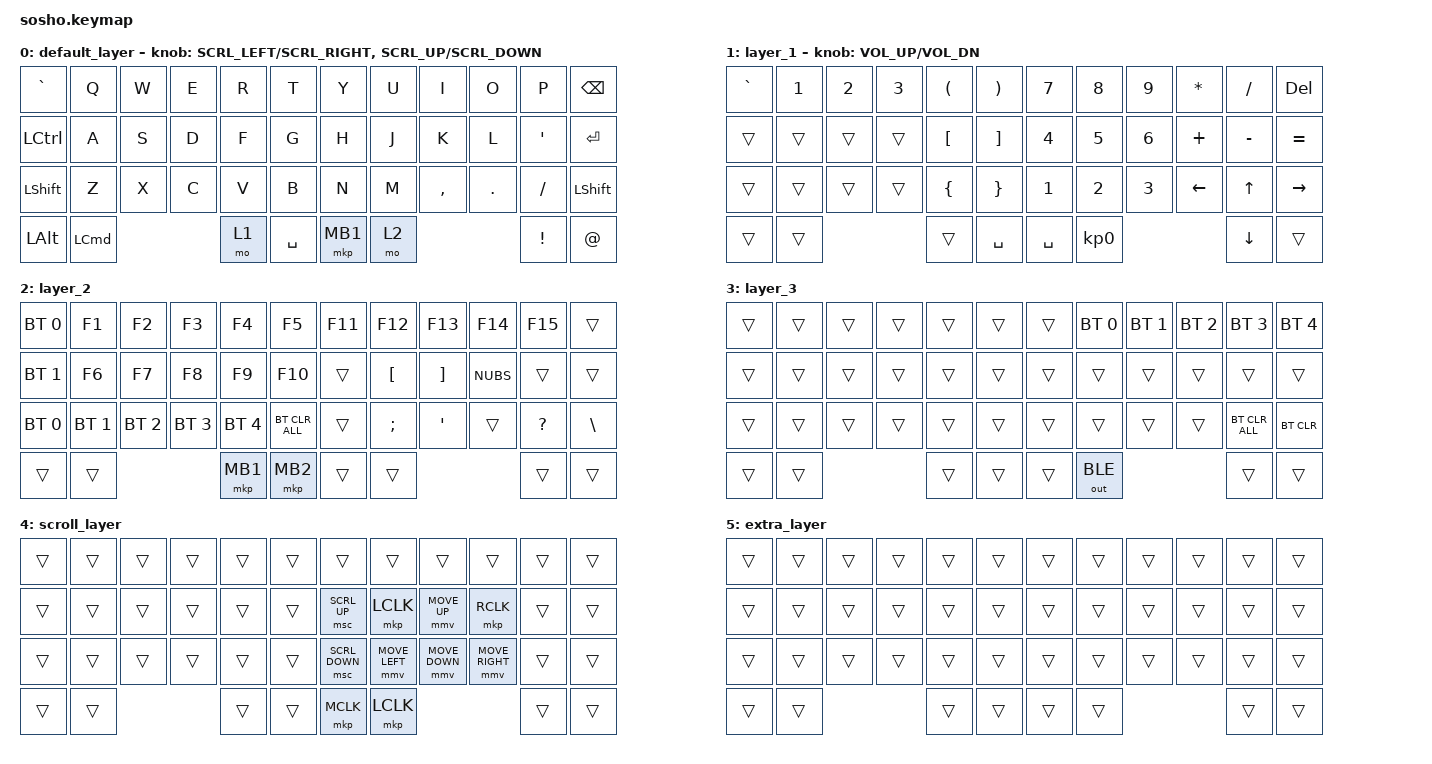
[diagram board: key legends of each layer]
//スクロール量の調整(デフォルト150)

#define ZMK_POINTING_DEFAULT_SCRL_VAL 150
#define ZMK_POINTING_DEFAULT_MOVE_VAL 600

#include <behaviors.dtsi>
#include <dt-bindings/zmk/bt.h>
#include <dt-bindings/zmk/keys.h>
#include <dt-bindings/zmk/outputs.h>
#include <dt-bindings/zmk/pointing.h>

/ {
    behaviors {
        msc_ec_l: sensor_rotation_scroll_L {
            compatible = "zmk,behavior-sensor-rotate-var";
            #sensor-binding-cells = <2>;
            bindings = <&msc>, <&msc>;

            tap-ms = <20>;
        };

        msc_ec_r: sensor_rotation_scroll_R {
            compatible = "zmk,behavior-sensor-rotate-var";
            #sensor-binding-cells = <2>;
            bindings = <&msc>, <&msc>;

            tap-ms = <20>;
        };
    };
};

&msc {
    time-to-max-speed-ms = <0>;
    acceleration-exponent = <0>;
};

&mmv {
    time-to-max-speed-ms = <0>;
    acceleration-exponent = <0>;
};

/ {
    combos {
        compatible = "zmk,combos";
        prioritize-longer-keys;

        combo_LCLK {
            timeout-ms = <50>;
            key-positions = <19 20>;
            bindings = <&mkp LCLK>;
        };

        combo_RCLK {
            timeout-ms = <50>;
            key-positions = <20 21>;
            bindings = <&mkp RCLK>;
        };

        combo_MCLK {
            timeout-ms = <90>;
            key-positions = <19 21>;
            bindings = <&mkp MCLK>;
        };

        combo_SCROLL {
            timeout-ms = <50>;
            key-positions = <31 32>;
            bindings = <&mo 4>;
        };
    };

    keymap {
        compatible = "zmk,keymap";

        default_layer {
            bindings = <
&kp GRAVE     &kp Q             &kp W  &kp E  &kp R  &kp T      &kp Y     &kp U  &kp I      &kp O    &kp P            &kp BSPC
&kp LCTRL     &kp A             &kp S  &kp D  &kp F  &kp G      &kp H     &kp J  &kp K      &kp L    &kp SQT          &kp ENTER
&kp LSHFT     &kp Z             &kp X  &kp C  &kp V  &kp B      &kp N     &kp M  &kp COMMA  &kp DOT  &kp SLASH        &kp LSHFT
&kp LEFT_ALT  &kp LEFT_COMMAND                &mo 1  &kp SPACE  &mkp MB1  &mo 2                      &kp EXCLAMATION  &kp AT_SIGN
            >;

            sensor-bindings = <&msc_ec_l SCRL_LEFT SCRL_RIGHT &msc_ec_r SCRL_UP SCRL_DOWN>;
        };

        layer_1 {
            bindings = <
&kp GRAVE  &kp N1  &kp N2  &kp N3  &kp LEFT_PARENTHESIS  &kp RIGHT_PARENTHESIS  &kp NUMBER_7  &kp NUMBER_8     &kp NUMBER_9  &kp ASTERISK    &kp SLASH     &kp DEL
&trans     &trans  &trans  &trans  &kp LEFT_BRACKET      &kp RIGHT_BRACKET      &kp NUMBER_4  &kp NUMBER_5     &kp NUMBER_6  &kp PLUS        &kp MINUS     &kp EQUAL
&trans     &trans  &trans  &trans  &kp LEFT_BRACE        &kp RIGHT_BRACE        &kp NUMBER_1  &kp NUMBER_2     &kp NUMBER_3  &kp LEFT_ARROW  &kp UP_ARROW  &kp RIGHT
&trans     &trans                  &trans                &kp SPACE              &kp SPACE     &kp KP_NUMBER_0                                &kp DOWN      &trans
            >;

            sensor-bindings = <&inc_dec_kp C_VOLUME_UP C_VOL_DN>;
        };

        layer_2 {
            bindings = <
&bt BT_SEL 0  &kp F1        &kp F2        &kp F3        &kp F4        &kp F5          &kp F11  &kp F12   &kp F13   &kp F14   &kp F15    &trans
&bt BT_SEL 1  &kp F6        &kp F7        &kp F8        &kp F9        &kp F10         &trans   &kp LBKT  &kp RBKT  &kp NUBS  &trans     &trans
&bt BT_SEL 0  &bt BT_SEL 1  &bt BT_SEL 2  &bt BT_SEL 3  &bt BT_SEL 4  &bt BT_CLR_ALL  &trans   &kp SEMI  &kp SQT   &trans    &kp QMARK  &kp BSLH
&trans        &trans                                    &mkp MB1      &mkp MB2        &trans   &trans                        &trans     &trans
            >;
        };

        layer_3 {
            bindings = <
&trans  &trans  &trans  &trans  &trans  &trans  &trans  &bt BT_SEL 0  &bt BT_SEL 1  &bt BT_SEL 2  &bt BT_SEL 3    &bt BT_SEL 4
&trans  &trans  &trans  &trans  &trans  &trans  &trans  &trans        &trans        &trans        &trans          &trans
&trans  &trans  &trans  &trans  &trans  &trans  &trans  &trans        &trans        &trans        &bt BT_CLR_ALL  &bt BT_CLR
&trans  &trans                  &trans  &trans  &trans  &out OUT_BLE                              &trans          &trans
            >;
        };

        scroll_layer {
            bindings = <
&trans  &trans  &trans  &trans  &trans  &trans  &trans          &trans          &trans          &trans           &trans  &trans
&trans  &trans  &trans  &trans  &trans  &trans  &msc SCRL_UP    &mkp LCLK       &mmv MOVE_UP    &mkp RCLK        &trans  &trans
&trans  &trans  &trans  &trans  &trans  &trans  &msc SCRL_DOWN  &mmv MOVE_LEFT  &mmv MOVE_DOWN  &mmv MOVE_RIGHT  &trans  &trans
&trans  &trans                  &trans  &trans  &mkp MCLK       &mkp LCLK                                        &trans  &trans
            >;
        };

        extra_layer {
            bindings = <
&trans  &trans  &trans  &trans  &trans  &trans  &trans  &trans  &trans  &trans  &trans  &trans
&trans  &trans  &trans  &trans  &trans  &trans  &trans  &trans  &trans  &trans  &trans  &trans
&trans  &trans  &trans  &trans  &trans  &trans  &trans  &trans  &trans  &trans  &trans  &trans
&trans  &trans                  &trans  &trans  &trans  &trans                  &trans  &trans
            >;
        };
    };
};
